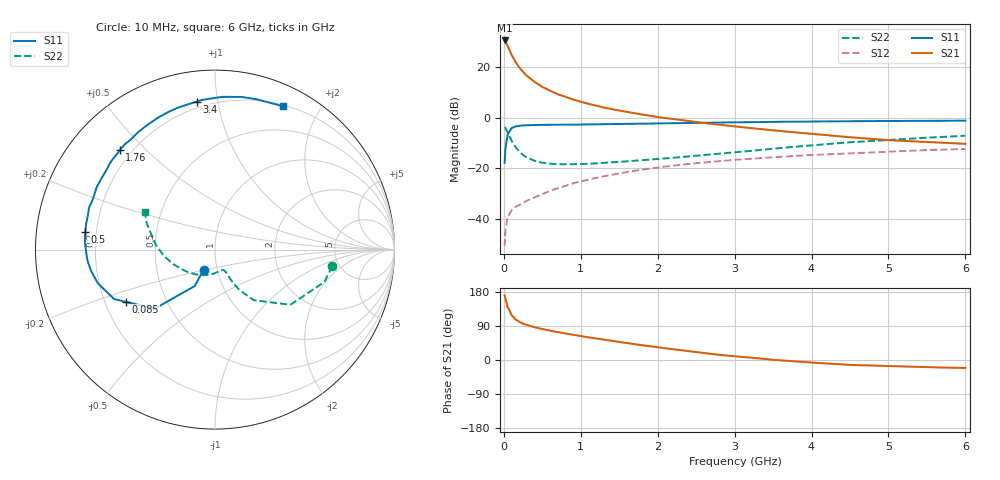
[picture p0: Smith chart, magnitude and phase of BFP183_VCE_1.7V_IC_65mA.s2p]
! Infineon Technologies  Discrete & RF Semiconductors
! BFP183
! VCE = 1.7 V,  IC =  65 mA
! Common Emitter S-Parameters:  Jan 2016
# GHz  S  MA  R  50
!  f  S11  S21  S12  S22
! GHz  MAG  ANG  MAG  ANG  MAG  ANG  MAG  ANG
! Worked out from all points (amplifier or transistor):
!   210 points, 10 MHz to 6 GHz, reference 50 ohm
!   highest |S21| = 30.6 dB at 10 MHz (marker M1)
!   |S21| within 3 dB of that: start of sweep to 63.37 MHz
!   unconditionally stable (mu >= 1): start of sweep to 44.36 MHz; 129.6 MHz to end of sweep
!   at 185 MHz: K = 1.19, MAG = 25.1 dB, |S12| = -34.7 dB
!   at 1.52 GHz: K = 1.87, MAG = 6.9 dB, |S12| = -21.8 dB
!   at 6 GHz: K = 1.49, MAG = -3.1 dB, |S12| = -12.3 dB
!   S11 on the Smith chart (normalised r, x): 10 MHz: 0.86, -0.20; 85 MHz: 0.29, -0.25; 500 MHz: 0.16, +0.07; 1.76 GHz: 0.16, +0.42; 3.4 GHz: 0.16, +0.87; 6 GHz: 0.21, +1.56
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0.01  0.1294 -119.6  34.05 170.5  0.0029 57.3  0.6593 -8.0
0.02  0.2328 -119.1  32.9 161.4  0.0055 63.8  0.6355 -16.5
0.05  0.4704 -135.6  26.77 138.8  0.0107 56.4  0.5202 -36.2
0.085  0.5741 -149.5  20.13 126.3  0.0135 47.6  0.4008 -46.2
0.1  0.6263 -153.9  17.74 118.2  0.0148 44.9  0.3551 -52.5
0.15  0.6792 -164.0  12.85 107.2  0.0174 43.8  0.2658 -58.6
0.2  0.7001 -170.1  9.932 100.7  0.0188 45.3  0.2148 -61.4
0.24  0.7094 -173.7  8.441 97.0  0.0203 47.6  0.1906 -62.2
0.3  0.7168 -178.0  6.777 92.2  0.0231 50.7  0.1637 -62.8
0.4  0.7261 176.8  5.132 86.3  0.0267 55.4  0.1416 -63.9
0.5  0.7296 172.3  4.104 81.6  0.0311 56.6  0.1298 -65.4
0.7  0.7336 164.8  2.952 73.5  0.0406 60.8  0.1213 -69.0
0.8  0.7397 161.6  2.597 69.9  0.0452 61.1  0.1205 -71.6
1.02  0.7404 154.5  2.047 62.6  0.0565 61.6  0.1222 -78.7
1.3  0.7472 146.7  1.606 53.7  0.0702 60.5  0.1293 -87.8
1.76  0.7665 133.8  1.191 40.1  0.093 56.8  0.1444 -103.9
2.02  0.7728 127.1  1.031 33.1  0.1051 54.1  0.1547 -112.8
3.1  0.8195 102.6  0.654 8.2  0.1515 42.0  0.2147 -149.8
3.4  0.8312 97.0  0.587 2.6  0.1629 38.6  0.238 -158.4
4.1  0.8535 85.8  0.47 -8.1  0.1873 30.7  0.2955 -175.8
5.1  0.8696 73.4  0.357 -16.5  0.217 21.1  0.3737 164.7
6  0.8834 64.6  0.307 -21.1  0.243 11.2  0.4431 152.0
